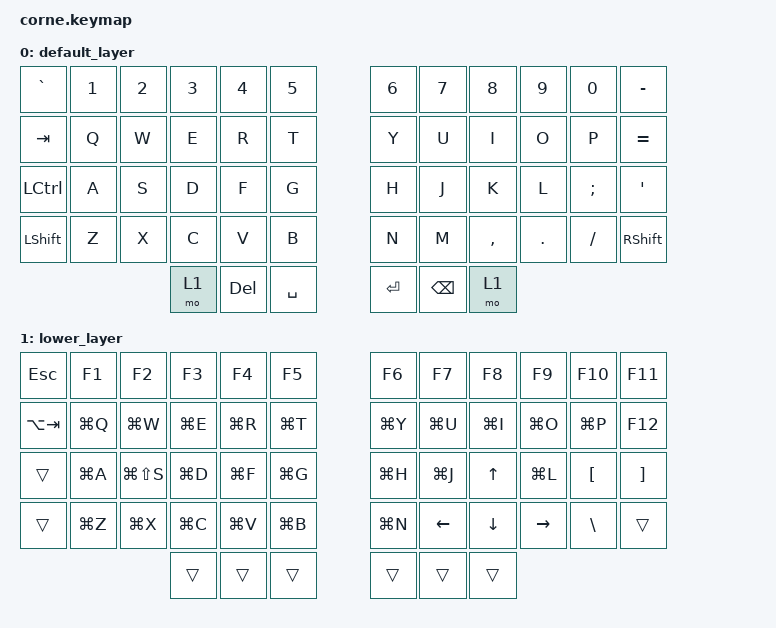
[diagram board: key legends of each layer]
/*
 * Copyright (c) 2020 The ZMK Contributors
 *
 * SPDX-License-Identifier: MIT
 */

#include <behaviors.dtsi>
#include <dt-bindings/zmk/keys.h>
#include <dt-bindings/zmk/bt.h>
#include <dt-bindings/zmk/ext_power.h>
#include <dt-bindings/zmk/rgb.h>

/ {
        keymap {
                compatible = "zmk,keymap";

                default_layer {
// ┏━━━━━━┳━━━━━┳━━━━━┳━━━━━┳━━━━━┳━━━━━┓     ┏━━━━━┳━━━━━┳━━━━━┳━━━━━┳━━━━━┳━━━━━━┓
// ┃   `  ┃  1  ┃  2  ┃  3  ┃  4  ┃  5  ┃     ┃  6  ┃  7  ┃  8  ┃  9  ┃  0  ┃  -   ┃
// ┣━━━━━━╋━━━━━╋━━━━━╋━━━━━╋━━━━━╋━━━━━┫     ┣━━━━━╋━━━━━╋━━━━━╋━━━━━╋━━━━━╋━━━━━━┫
// ┃  TAB ┃  Q  ┃  W  ┃  E  ┃  R  ┃  T  ┃     ┃  Y  ┃  U  ┃  I  ┃  O  ┃  P  ┃  =   ┃
// ┣━━━━━━╋━━━━━╋━━━━━╋━━━━━╋━━━━━╋━━━━━┫     ┣━━━━━╋━━━━━╋━━━━━╋━━━━━╋━━━━━╋━━━━━━┫
// ┃ CTRL ┃  A  ┃  S  ┃  D  ┃  F  ┃  G  ┃     ┃  H  ┃  J  ┃  K  ┃  L  ┃  ;  ┃  '   ┃
// ┣━━━━━━╋━━━━━╋━━━━━╋━━━━━╋━━━━━╋━━━━━┫     ┣━━━━━╋━━━━━╋━━━━━╋━━━━━╋━━━━━╋━━━━━━┫
// ┃ SHFT ┃  Z  ┃  X  ┃  C  ┃  V  ┃  B  ┃     ┃  N  ┃  M  ┃  ,  ┃  .  ┃  /  ┃ SHFT ┃
// ┗━━━━━━┻━━━━━┻━━━━━╋━━━━━╋━━━━━╋━━━━━┫     ┣━━━━━╋━━━━━╋━━━━━╋━━━━━┻━━━━━┻━━━━━━┛
//                    ┃ LWR ┃ DEL ┃ SPC ┃     ┃ ENT ┃ BSP ┃ LWR ┃
//                    ┗━━━━━┻━━━━━┻━━━━━┛     ┗━━━━━┻━━━━━┻━━━━━┛
                        bindings = <
&kp GRAVE &kp N1 &kp N2 &kp N3 &kp N4  &kp N5        &kp N6  &kp N7   &kp N8    &kp N9  &kp N0   &kp MINUS
&kp TAB   &kp Q  &kp W  &kp E  &kp R   &kp T         &kp Y   &kp U    &kp I     &kp O   &kp P    &kp EQUAL
&kp LCTRL &kp A  &kp S  &kp D  &kp F   &kp G         &kp H   &kp J    &kp K     &kp L   &kp SEMI &kp SQT
&kp LSHFT &kp Z  &kp X  &kp C  &kp V   &kp B         &kp N   &kp M    &kp COMMA &kp DOT &kp FSLH &kp RSHFT
                        &mo 1  &kp DEL &kp SPACE     &kp RET &kp BSPC &mo 1
                        >;
                };
                lower_layer {
// ┏━━━━━━┳━━━━━┳━━━━━┳━━━━━┳━━━━━┳━━━━━┓     ┏━━━━━┳━━━━━┳━━━━━┳━━━━━┳━━━━━┳━━━━━━┓
// ┃  ESC ┃  F1 ┃  F2 ┃  F3 ┃  F4 ┃  F5 ┃     ┃ F6  ┃ F7  ┃ F8  ┃ F9  ┃ F10 ┃ F11  ┃
// ┣━━━━━━╋━━━━━╋━━━━━╋━━━━━╋━━━━━╋━━━━━┫     ┣━━━━━╋━━━━━╋━━━━━╋━━━━━╋━━━━━╋━━━━━━┫
// ┃AltTAB┃ WinQ┃ WinW┃ WinE┃ WinR┃ WinT┃     ┃WinY ┃WinU ┃WinI ┃WinO ┃WinP ┃ F12  ┃
// ┣━━━━━━╋━━━━━╋━━━━━╋━━━━━╋━━━━━╋━━━━━┫     ┣━━━━━╋━━━━━╋━━━━━╋━━━━━╋━━━━━╋━━━━━━┫
// ┃ CTRL ┃ WinA┃WnStS┃ WinD┃ WinF┃ WinG┃     ┃WinH ┃WinJ ┃  ↑  ┃WinL ┃  [  ┃  ]   ┃
// ┣━━━━━━╋━━━━━╋━━━━━╋━━━━━╋━━━━━╋━━━━━┫     ┣━━━━━╋━━━━━╋━━━━━╋━━━━━╋━━━━━╋━━━━━━┫
// ┃ SHFT ┃ WinZ┃ WinX┃ WinC┃ WinV┃ WinB┃     ┃WinN ┃  ←  ┃  ↓  ┃  →  ┃  \  ┃ SHFT ┃
// ┗━━━━━━┻━━━━━┻━━━━━╋━━━━━╋━━━━━╋━━━━━┫     ┣━━━━━╋━━━━━╋━━━━━╋━━━━━┻━━━━━┻━━━━━━┛
//                    ┃ LWR ┃ DEL ┃ SPC ┃     ┃ ENT ┃ BSP ┃ LWR ┃
//                    ┗━━━━━┻━━━━━┻━━━━━┛     ┗━━━━━┻━━━━━┻━━━━━┛
                        bindings = <
&kp ESC     &kp F1    &kp F2        &kp F3    &kp F4    &kp F5        &kp F6    &kp F7    &kp F8    &kp F9    &kp F10   &kp F11
&kp LA(TAB) &kp LG(Q) &kp LG(W)     &kp LG(E) &kp LG(R) &kp LG(T)     &kp LG(Y) &kp LG(U) &kp LG(I) &kp LG(O) &kp LG(P) &kp F12
&trans      &kp LG(A) &kp LG(LS(S)) &kp LG(D) &kp LG(F) &kp LG(G)     &kp LG(H) &kp LG(J) &kp UP    &kp LG(L) &kp LBKT  &kp RBKT
&trans      &kp LG(Z) &kp LG(X)     &kp LG(C) &kp LG(V) &kp LG(B)     &kp LG(N) &kp LEFT  &kp DOWN  &kp RIGHT &kp BSLH  &trans
                                    &trans    &trans    &trans        &trans    &trans    &trans
                        >;
                };
};
